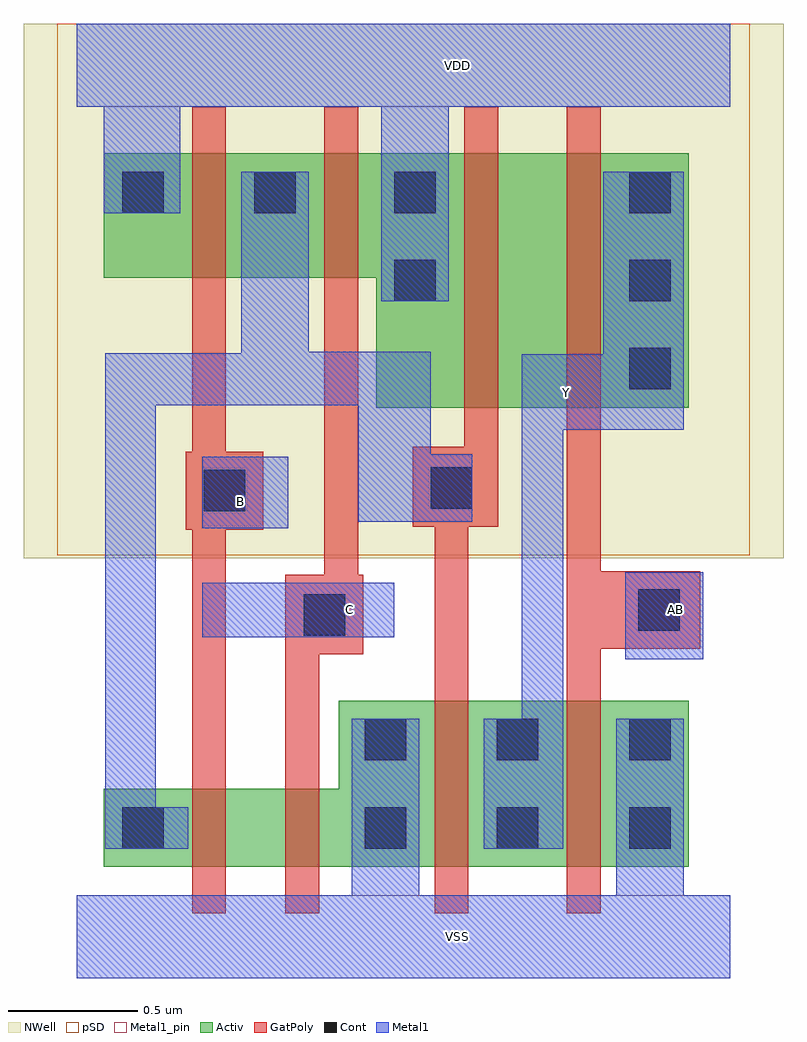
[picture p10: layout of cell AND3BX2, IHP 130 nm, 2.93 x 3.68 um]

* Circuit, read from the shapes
.subckt AND3BX2 AB B C VDD VSS Y
XM1 n1 B n2 VSUBS sg13_lv_nmos w=0.3u l=0.13u
XM2 VSS C n1 VSUBS sg13_lv_nmos w=0.3u l=0.13u
XM3 Y n2 VSS VSUBS sg13_lv_nmos w=0.64u l=0.13u
XM4 VSS AB Y VSUBS sg13_lv_nmos w=0.64u l=0.13u
XM5 n2 B VDD n3 sg13_lv_pmos w=0.48u l=0.13u
XM6 VDD C n2 n3 sg13_lv_pmos w=0.48u l=0.13u
XM7 n4 n2 VDD n3 sg13_lv_pmos w=0.98u l=0.13u
XM8 Y AB n4 n3 sg13_lv_pmos w=0.98u l=0.13u
.ends

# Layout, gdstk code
import gdstk
lib = gdstk.Library(unit=1e-6, precision=1e-09)
def R(c, l, rs):  # rectangles x0, y0, x1, y1
    for r in rs: c.add(gdstk.rectangle(r[:2], r[2:], *l))
def A(c, l, x, y, w, h, nx, ny, dx, dy):  # array of equal rectangles
    R(c, l, [(x+i*dx, y+j*dy, x+i*dx+w, y+j*dy+h) for i in range(nx) for j in range(ny)])
def P(c, l, *ps):  # polygons
    for p in ps: c.add(gdstk.Polygon(p, *l))
Activ = (1, 0)
GatPoly = (5, 0)
Cont = (6, 0)
Metal1 = (8, 0)
Metal1_pin = (8, 2)
pSD = (14, 0)
NWell = (31, 0)

and3bx2 = lib.new_cell('AND3BX2')
P(and3bx2, Activ, [(0.105,0.27),(0.105,0.57),(1.01,0.57),(1.01,0.91),(2.36,0.91),(2.36,0.27)],
  [(1.155,2.04),(1.155,2.54),(0.105,2.54),(0.105,3.02),(2.36,3.02),(2.36,2.04)])
P(and3bx2, GatPoly, [(1.89,0.09),(1.89,3.2),(2.02,3.2),(2.02,1.41),(2.405,1.41),(2.405,1.11),(2.02,1.11),(2.02,0.09)],
  [(1.38,0.09),(1.38,1.58),(1.295,1.58),(1.295,1.89),(1.495,1.89),(1.495,3.2),(1.625,3.2),(1.625,1.58),(1.51,1.58),(1.51,0.09)],
  [(0.805,0.09),(0.805,1.395),(0.955,1.395),(0.955,3.2),(1.085,3.2),(1.085,1.395),(1.105,1.395),(1.105,1.09),(0.935,1.09),(0.935,0.09)],
  [(0.445,0.09),(0.445,1.57),(0.42,1.57),(0.42,1.87),(0.445,1.87),(0.445,3.2),(0.575,3.2),(0.575,1.87),(0.72,1.87),(0.72,1.57),(0.575,1.57),(0.575,0.09)])
A(and3bx2, Cont, 1.11, 0.34, 0.16, 0.16, 3, 2, 0.51, 0.34)
A(and3bx2, Cont, 2.13, 2.11, 0.16, 0.16, 1, 3, 0, 0.34)
R(and3bx2, Cont, [(0.175,0.34,0.335,0.5), (0.875,1.16,1.035,1.32), (2.165,1.18,2.325,1.34), (0.49,1.64,0.65,1.8), (1.365,1.65,1.525,1.81), (1.225,2.45,1.385,2.61), (0.175,2.79,0.335,2.95), (0.685,2.79,0.845,2.95), (1.225,2.79,1.385,2.95)])
R(and3bx2, Metal1, [(2.115,1.07,2.415,1.405), (0.485,1.155,1.225,1.365), (0.485,1.575,0.815,1.85)])
P(and3bx2, Metal1, [(0,-0.16),(0,0.16),(1.06,0.16),(1.06,0.84),(1.32,0.84),(1.32,0.16),(2.08,0.16),(2.08,0.84),(2.34,0.84),(2.34,0.16),(2.52,0.16),(2.52,-0.16)],
  [(1.57,0.34),(1.57,0.84),(1.715,0.84),(1.715,2.245),(2.03,2.245),(2.03,2.95),(2.34,2.95),(2.34,1.955),(1.875,1.955),(1.875,0.34)],
  [(1.175,2.45),(1.175,3.2),(0.4,3.2),(0.4,2.79),(0.105,2.79),(0.105,3.2),(0,3.2),(0,3.52),(2.52,3.52),(2.52,3.2),(1.435,3.2),(1.435,2.45)],
  [(0.11,0.34),(0.11,2.25),(0.635,2.25),(0.635,2.95),(0.895,2.95),(0.895,2.255),(1.365,2.255),(1.365,1.86),(1.525,1.86),(1.525,1.6),(1.085,1.6),(1.085,2.05),(0.305,2.05),(0.305,0.5),(0.43,0.5),(0.43,0.34)])
R(and3bx2, Metal1_pin, [(0,-0.16,2.52,0.16), (2.115,1.07,2.415,1.405), (0.485,1.155,1.225,1.365), (0.485,1.575,0.815,1.85), (0,3.2,2.52,3.52)])
P(and3bx2, Metal1_pin, [(1.57,0.34),(1.57,0.84),(1.715,0.84),(1.715,2.245),(2.03,2.245),(2.03,2.95),(2.34,2.95),(2.34,1.955),(1.875,1.955),(1.875,0.34)])
R(and3bx2, pSD, [(-0.075,1.47,2.595,3.52)])
R(and3bx2, NWell, [(-0.205,1.46,2.725,3.52)])
and3bx2.add(gdstk.Label('VSS', (1.47,0), layer=8, texttype=25))
and3bx2.add(gdstk.Label('C', (1.05,1.26), layer=8, texttype=25))
and3bx2.add(gdstk.Label('AB', (2.31,1.26), layer=8, texttype=25))
and3bx2.add(gdstk.Label('Y', (1.89,2.1), layer=8, texttype=25))
and3bx2.add(gdstk.Label('B', (0.63,1.68), layer=8, texttype=25))
and3bx2.add(gdstk.Label('VDD', (1.47,3.36), layer=8, texttype=25))

lib.write_gds('AND3BX2.gds')
